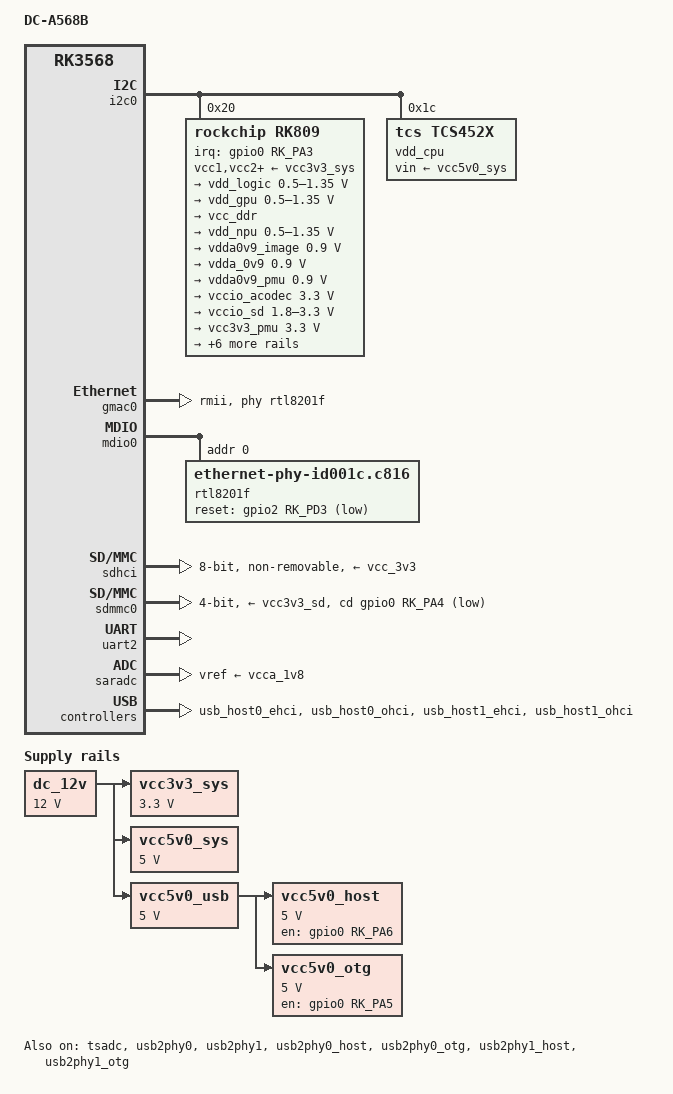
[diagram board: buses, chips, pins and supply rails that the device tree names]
// SPDX-License-Identifier: (GPL-2.0+ OR MIT)
/dts-v1/;

#include <dt-bindings/gpio/gpio.h>
#include <dt-bindings/pinctrl/rockchip.h>
#include <dt-bindings/pwm/pwm.h>
#include "rk3568.dtsi"

/ {
	model = "DC-A568B";
	compatible = "rockchip,dc-a568b", "rockchip,rk3568";

	aliases {
		ethernet0 = &gmac0;
		mmc0 = &sdhci;
		mmc1 = &sdmmc0;
		mmc2 = &sdmmc2;
	};
	chosen { stdout-path = "serial2:1500000n8"; };

	dc_12v: dc-12v {
		compatible = "regulator-fixed";

		regulator-always-on;
		regulator-boot-on;
		regulator-max-microvolt = <12000000>;
		regulator-min-microvolt = <12000000>;
		regulator-name = "dc_12v";
	};

	vcc3v3_sys: vcc3v3-sys {
		compatible = "regulator-fixed";

		regulator-always-on;
		regulator-boot-on;
		regulator-max-microvolt = <3300000>;
		regulator-min-microvolt = <3300000>;
		regulator-name = "vcc3v3_sys";
		vin-supply = <&dc_12v>;
	};

	vcc5v0_sys: vcc5v0-sys {
		compatible = "regulator-fixed";

		regulator-always-on;
		regulator-boot-on;
		regulator-max-microvolt = <5000000>;
		regulator-min-microvolt = <5000000>;
		regulator-name = "vcc5v0_sys";
		vin-supply = <&dc_12v>;
	};

	vcc5v0_usb: vcc5v0-usb {
		compatible = "regulator-fixed";

		regulator-always-on;
		regulator-boot-on;
		regulator-max-microvolt = <5000000>;
		regulator-min-microvolt = <5000000>;
		regulator-name = "vcc5v0_usb";
		vin-supply = <&dc_12v>;
	};

	vcc5v0_host: vcc5v0-host-regulator {
		compatible = "regulator-fixed";
		enable-active-high;
		gpio = <&gpio0 RK_PA6 GPIO_ACTIVE_HIGH>;

		regulator-always-on;
		regulator-boot-on;
		regulator-max-microvolt = <5000000>;
		regulator-min-microvolt = <5000000>;
		regulator-name = "vcc5v0_host";
		vin-supply = <&vcc5v0_usb>;
	};

	vcc5v0_otg: vcc5v0-otg-regulator {
		compatible = "regulator-fixed";
		enable-active-high;
		gpio = <&gpio0 RK_PA5 GPIO_ACTIVE_HIGH>;

		regulator-max-microvolt = <5000000>;
		regulator-min-microvolt = <5000000>;
		regulator-name = "vcc5v0_otg";
		vin-supply = <&vcc5v0_usb>;
	};

};

&i2c0 {
	status = "okay";
	rk809: pmic@20 {
		compatible = "rockchip,rk809";
		reg = <0x20>;
		interrupt-parent = <&gpio0>;
		interrupts = <RK_PA3 IRQ_TYPE_LEVEL_LOW>;
		#clock-cells = <1>;
		clock-output-names = "rk808-clkout1", "rk808-clkout2";
		system-power-controller;
		wakeup-source;
		vcc1-supply = <&vcc3v3_sys>;
		vcc2-supply = <&vcc3v3_sys>;
		vcc3-supply = <&vcc3v3_sys>;
		vcc4-supply = <&vcc3v3_sys>;
		vcc5-supply = <&vcc3v3_sys>;
		vcc6-supply = <&vcc3v3_sys>;
		vcc7-supply = <&vcc3v3_sys>;
		vcc8-supply = <&vcc3v3_sys>;
		vcc9-supply = <&vcc3v3_sys>;
		regulators {
			vdd_logic: DCDC_REG1 {
				regulator-always-on;
				regulator-boot-on;
				regulator-min-microvolt = <500000>;
				regulator-max-microvolt = <1350000>;
				regulator-init-microvolt = <900000>;
				regulator-ramp-delay = <6001>;
				regulator-initial-mode = <0x2>;
				regulator-name = "vdd_logic";
				regulator-state-mem {
					regulator-off-in-suspend;
				};
			};

			vdd_gpu: DCDC_REG2 {
				regulator-always-on;
				regulator-boot-on;
				regulator-min-microvolt = <500000>;
				regulator-max-microvolt = <1350000>;
				regulator-init-microvolt = <900000>;
				regulator-ramp-delay = <6001>;
				regulator-initial-mode = <0x2>;
				regulator-name = "vdd_gpu";
				regulator-state-mem {
					regulator-off-in-suspend;
				};
			};

			vcc_ddr: DCDC_REG3 {
				regulator-always-on;
				regulator-boot-on;
				regulator-initial-mode = <0x2>;
				regulator-name = "vcc_ddr";
				regulator-state-mem {
					regulator-on-in-suspend;
				};
			};

			vdd_npu: DCDC_REG4 {
				regulator-always-on;
				regulator-boot-on;
				regulator-min-microvolt = <500000>;
				regulator-max-microvolt = <1350000>;
				regulator-init-microvolt = <900000>;
				regulator-ramp-delay = <6001>;
				regulator-initial-mode = <0x2>;
				regulator-name = "vdd_npu";
				regulator-state-mem {
					regulator-off-in-suspend;
				};
			};

			vdda0v9_image: LDO_REG1 {
				regulator-boot-on;
				regulator-always-on;
				regulator-min-microvolt = <900000>;
				regulator-max-microvolt = <900000>;
				regulator-name = "vdda0v9_image";
				regulator-state-mem {
					regulator-off-in-suspend;
				};
			};

			vdda_0v9: LDO_REG2 {
				regulator-always-on;
				regulator-boot-on;
				regulator-min-microvolt = <900000>;
				regulator-max-microvolt = <900000>;
				regulator-name = "vdda_0v9";
				regulator-state-mem {
					regulator-off-in-suspend;
				};
			};

			vdda0v9_pmu: LDO_REG3 {
				regulator-always-on;
				regulator-boot-on;
				regulator-min-microvolt = <900000>;
				regulator-max-microvolt = <900000>;
				regulator-name = "vdda0v9_pmu";
				regulator-state-mem {
					regulator-on-in-suspend;
					regulator-suspend-microvolt = <900000>;
				};
			};

			vccio_acodec: LDO_REG4 {
				regulator-always-on;
				regulator-boot-on;
				regulator-min-microvolt = <3300000>;
				regulator-max-microvolt = <3300000>;
				regulator-name = "vccio_acodec";
				regulator-state-mem {
					regulator-off-in-suspend;
				};
			};

			vccio_sd: LDO_REG5 {
				regulator-always-on;
				regulator-boot-on;
				regulator-min-microvolt = <1800000>;
				regulator-max-microvolt = <3300000>;
				regulator-name = "vccio_sd";
				regulator-state-mem {
					regulator-off-in-suspend;
				};
			};

			vcc3v3_pmu: LDO_REG6 {
				regulator-always-on;
				regulator-boot-on;
				regulator-min-microvolt = <3300000>;
				regulator-max-microvolt = <3300000>;
				regulator-name = "vcc3v3_pmu";
				regulator-state-mem {
					regulator-on-in-suspend;
					regulator-suspend-microvolt = <3300000>;
				};
			};

			vcca_1v8: LDO_REG7 {
				regulator-always-on;
				regulator-boot-on;
				regulator-min-microvolt = <1800000>;
				regulator-max-microvolt = <1800000>;
				regulator-name = "vcca_1v8";
				regulator-state-mem {
					regulator-off-in-suspend;
				};
			};

			vcca1v8_pmu: LDO_REG8 {
				regulator-always-on;
				regulator-boot-on;
				regulator-min-microvolt = <1800000>;
				regulator-max-microvolt = <1800000>;
				regulator-name = "vcca1v8_pmu";
				regulator-state-mem {
					regulator-on-in-suspend;
					regulator-suspend-microvolt = <1800000>;
				};
			};

			vcca1v8_image: LDO_REG9 {
				regulator-always-on;
				regulator-boot-on;
				regulator-min-microvolt = <1800000>;
				regulator-max-microvolt = <1800000>;
				regulator-name = "vcca1v8_image";
				regulator-state-mem {
					regulator-off-in-suspend;
				};
			};

			vcc_1v8: DCDC_REG5 {
				regulator-always-on;
				regulator-boot-on;
				regulator-min-microvolt = <1800000>;
				regulator-max-microvolt = <1800000>;
				regulator-name = "vcc_1v8";
				regulator-state-mem {
					regulator-off-in-suspend;
				};
			};

			vcc_3v3: SWITCH_REG1 {
				regulator-always-on;
				regulator-boot-on;
				regulator-name = "vcc_3v3";
				regulator-state-mem {
					regulator-off-in-suspend;
				};
			};

			vcc3v3_sd: SWITCH_REG2 {
				regulator-always-on;
				regulator-boot-on;
				regulator-name = "vcc3v3_sd";
				regulator-state-mem {
					regulator-off-in-suspend;
				};
			};
		};
	};
	vdd_cpu: regulator@1c {
		compatible = "tcs,tcs452x";
		fcs,suspend-voltage-selector = <0x01>;

		reg = <0x1c>;
		regulator-always-on;
		regulator-boot-on;
		regulator-init-microvolt = <1000000>;
		regulator-max-microvolt = <1390000>;
		regulator-min-microvolt = <712500>;
		regulator-name = "vdd_cpu";
		regulator-ramp-delay = <2300>;
		vin-supply = <&vcc5v0_sys>;

		regulator-state-mem {
			regulator-off-in-suspend;
		};
	};
};

&cpu0 { cpu-supply = <&vdd_cpu>; };
&cpu1 { cpu-supply = <&vdd_cpu>; };
&cpu2 { cpu-supply = <&vdd_cpu>; };
&cpu3 { cpu-supply = <&vdd_cpu>; };

&pmu_io_domains {
	pmuio2-supply = <&vcc3v3_pmu>;
	vccio1-supply = <&vccio_acodec>;
	vccio3-supply = <&vccio_sd>;
	vccio4-supply = <&vcc_3v3>;
	vccio5-supply = <&vcc_3v3>;
	vccio6-supply = <&vcc_1v8>;
	vccio7-supply = <&vcc_3v3>;
	status = "okay";
};

&gmac0 {
	phy-mode = "rmii";
	clock_in_out = "output";
	assigned-clocks = <&cru SCLK_GMAC0_RX_TX>, <&cru SCLK_GMAC0>, <&cru CLK_MAC0_OUT>;
	assigned-clock-parents = <&cru SCLK_GMAC0_RMII_SPEED>;
	assigned-clock-rates = <0>, <50000000>, <25000000>;
	pinctrl-names = "default";
	pinctrl-0 = <&gmac0_miim &gmac0_clkinout &gmac0_rx_bus2 &gmac0_tx_bus2 &eth0_pins>;
	phy-handle = <&rtl8201f>;
	status = "okay";
};

&mdio0 {
	rtl8201f: ethernet-phy@0 {
		compatible = "ethernet-phy-id001c.c816", "ethernet-phy-ieee802.3-c22";
		reg = <0>;
		clocks = <&cru CLK_MAC0_OUT>;
		reset-gpios = <&gpio2 RK_PD3 GPIO_ACTIVE_LOW>;
		reset-assert-us = <20000>;
		reset-deassert-us = <100000>;
	};
};

&sdhci {
	bus-width = <8>;
	non-removable;
	max-frequency = <200000000>;
	mmc-hs200-1_8v;
	vmmc-supply = <&vcc_3v3>;
	vqmmc-supply = <&vcc_1v8>;
	status = "okay";
};

&sdmmc0 {
	bus-width = <4>;
	cap-sd-highspeed;
	sd-uhs-sdr104;
	disable-wp;
	cd-gpios = <&gpio0 RK_PA4 GPIO_ACTIVE_LOW>;
	pinctrl-names = "default";
	pinctrl-0 = <&sdmmc0_bus4 &sdmmc0_clk &sdmmc0_cmd>;
	vmmc-supply = <&vcc3v3_sd>;
	vqmmc-supply = <&vccio_sd>;
	status = "okay";
};

&uart2 { status = "okay"; };

&tsadc { status = "okay"; };
&saradc { vref-supply = <&vcca_1v8>; status = "okay"; };
&usb2phy0 { status = "okay"; };
&usb2phy1 { status = "okay"; };
&usb2phy0_host { phy-supply = <&vcc5v0_host>; status = "okay"; };
&usb2phy0_otg { vbus-supply = <&vcc5v0_otg>; status = "okay"; };
&usb2phy1_host { phy-supply = <&vcc5v0_host>; status = "okay"; };
&usb2phy1_otg { phy-supply = <&vcc5v0_host>; status = "okay"; };
&usb_host0_ehci { status = "okay"; };
&usb_host0_ohci { status = "okay"; };
&usb_host1_ehci { status = "okay"; };
&usb_host1_ohci { status = "okay"; };

